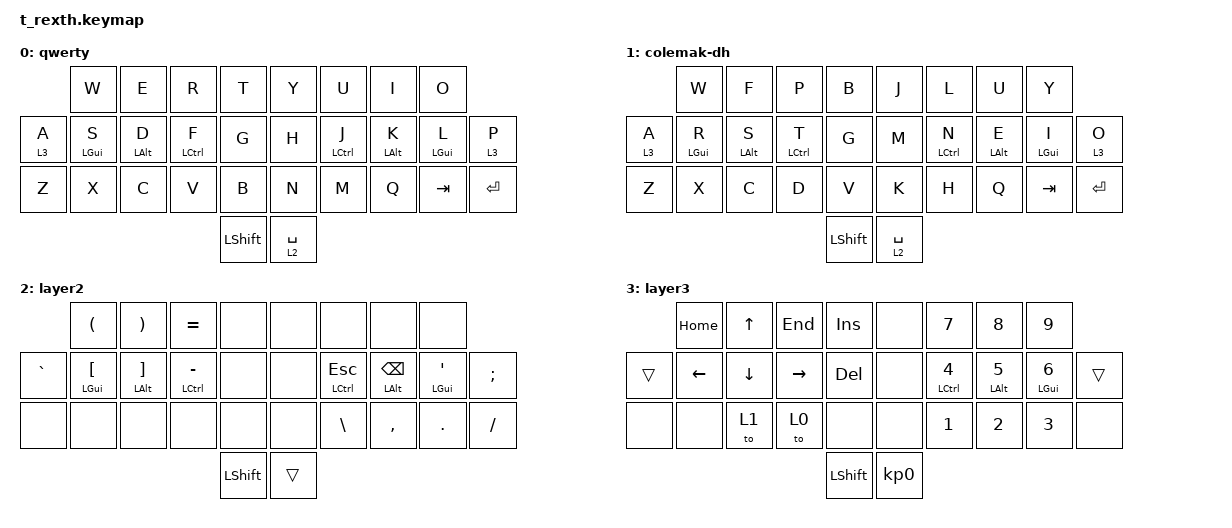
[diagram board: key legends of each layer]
#include <behaviors.dtsi>
#include <dt-bindings/zmk/keys.h>

&lt {
  tapping-term-ms = <250>;
  quick-tap-ms = <200>;
  flavor = "balanced";
};

&mt {
  tapping-term-ms = <250>;
  quick-tap-ms = <200>;
  flavor = "tap-preferred";
};

/ {
  keymap {
    compatible = "zmk,keymap";

    qwerty {
    bindings = <
                &kp W         &kp E         &kp R           &kp T               &kp Y      &kp U           &kp I          &kp O
      &lt 3 A   &mt LGUI S    &mt LALT D    &mt LCTRL F     &kp G               &kp H      &mt LCTRL J     &mt LALT K     &mt LGUI L      &lt 3 P
      &kp Z     &kp X         &kp C         &kp V           &kp B               &kp N      &kp M           &kp Q          &kp TAB         &kp ENTER
                                                            &kp LSHIFT          &lt 2 SPACE
    >;
    };

    colemak-dh {
    bindings = <
                &kp W         &kp F         &kp P           &kp B               &kp J      &kp L           &kp U          &kp Y
      &lt 3 A   &mt LGUI R    &mt LALT S    &mt LCTRL T     &kp G               &kp M      &mt LCTRL N     &mt LALT E     &mt LGUI I      &lt 3 O
      &kp Z     &kp X         &kp C         &kp D           &kp V               &kp K      &kp H           &kp Q          &kp TAB         &kp ENTER
                                                            &kp LSHIFT          &lt 2 SPACE
    >;
    };

    layer2 {
    bindings = <
                &kp LPAR      &kp RPAR      &kp EQUAL       &none               &none      &none           &none          &none
      &kp GRAVE &mt LGUI LBKT &mt LALT RBKT &mt LCTRL MINUS &none               &none      &mt LCTRL ESC   &mt LALT BSPC  &mt LGUI APOS   &kp SEMI
      &none     &none         &none         &none           &none               &none      &kp BSLH        &kp COMMA      &kp DOT         &kp SLASH
                                                            &kp LSHIFT          &trans
    >;
    };

    layer3 {
    bindings = <
                &kp HOME      &kp UP        &kp END         &kp INS             &none      &kp N7          &kp N8         &kp N9
      &trans    &kp LEFT      &kp DOWN      &kp RIGHT       &kp DEL             &none      &mt LCTRL N4    &mt LALT N5    &mt LGUI N6     &trans
      &none     &none         &to 1         &to 0           &none               &none      &kp N1          &kp N2         &kp N3          &none
                                                            &kp LSHIFT          &kp KP_N0
    >;
    };
  };
};
